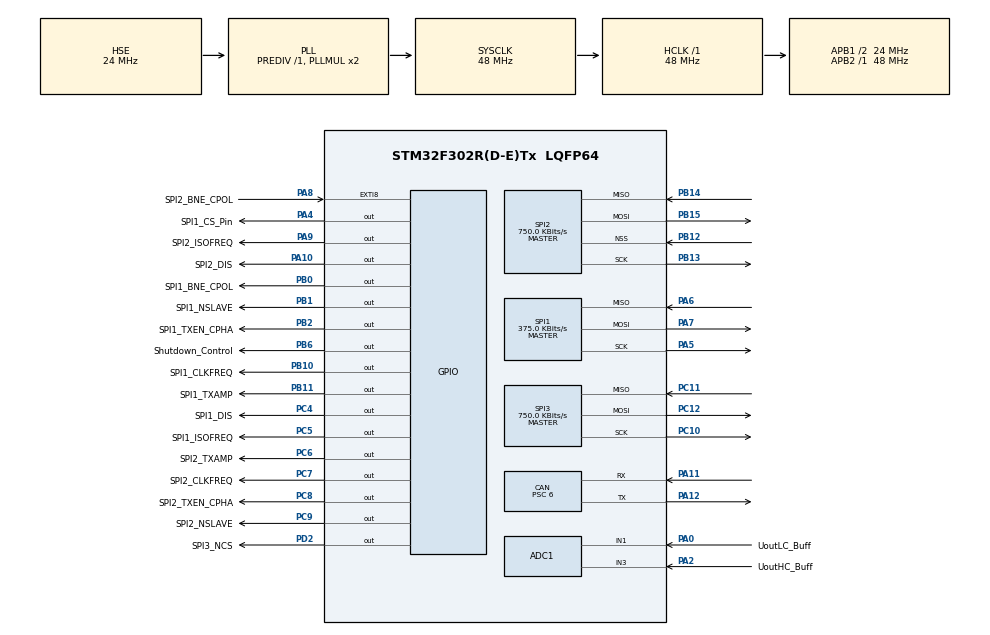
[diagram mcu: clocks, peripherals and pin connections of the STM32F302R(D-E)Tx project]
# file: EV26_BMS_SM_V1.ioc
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ADC1.Channel-5\#ChannelRegularConversion=ADC_CHANNEL_1
ADC1.Channel-6\#ChannelRegularConversion=ADC_CHANNEL_1
ADC1.ContinuousConvMode=ENABLE
ADC1.DMAContinuousRequests=ENABLE
ADC1.EnableRegularConversion=ENABLE
ADC1.NbrOfConversion=2
ADC1.NbrOfConversionFlag=1
ADC1.Offset-5\#ChannelRegularConversion=0
ADC1.Offset-6\#ChannelRegularConversion=0
ADC1.OffsetNumber-5\#ChannelRegularConversion=ADC_OFFSET_NONE
ADC1.OffsetNumber-6\#ChannelRegularConversion=ADC_OFFSET_NONE
ADC1.Rank-5\#ChannelRegularConversion=1
ADC1.Rank-6\#ChannelRegularConversion=2
ADC1.SamplingTime-5\#ChannelRegularConversion=ADC_SAMPLETIME_1CYCLE_5
ADC1.SamplingTime-6\#ChannelRegularConversion=ADC_SAMPLETIME_1CYCLE_5
ADC1.SamplingTimeOPAMP-5\#ChannelRegularConversion=ADC_SAMPLETIME_7CYCLES_5
ADC1.SamplingTimeOPAMP-6\#ChannelRegularConversion=ADC_SAMPLETIME_7CYCLES_5
ADC1.master=1
CAN.BS1=CAN_BS1_5TQ
CAN.BS2=CAN_BS2_2TQ
CAN.CalculateBaudRate=500000
CAN.CalculateTimeBit=2000
CAN.CalculateTimeQuantum=250.0
CAN.Prescaler=6
Dma.ADC1.0.Direction=DMA_PERIPH_TO_MEMORY
Dma.ADC1.0.Instance=DMA1_Channel1
Dma.ADC1.0.MemDataAlignment=DMA_MDATAALIGN_HALFWORD
Dma.ADC1.0.MemInc=DMA_MINC_ENABLE
Dma.ADC1.0.Mode=DMA_CIRCULAR
Dma.ADC1.0.PeriphDataAlignment=DMA_PDATAALIGN_HALFWORD
Dma.ADC1.0.PeriphInc=DMA_PINC_DISABLE
Dma.ADC1.0.Priority=DMA_PRIORITY_LOW
Dma.Request0=ADC1
Mcu.Family=STM32F3
Mcu.Name=STM32F302R(D-E)Tx
Mcu.Package=LQFP64
NVIC.DMA1_Channel1_IRQn=true\:0\:0\:false\:false\:true\:false\:true\:true
NVIC.PriorityGroup=NVIC_PRIORITYGROUP_4
NVIC.USB_LP_CAN_RX0_IRQn=true\:0\:0\:false\:false\:true\:true\:true\:true
PA0.GPIO_Label=UoutLC_Buff
PA0.Mode=IN1-Single-Ended
PA0.Signal=ADC1_IN1
PA10.GPIO_Label=SPI2_DIS
PA10.Signal=GPIO_Output
PA11.GPIO_PuPd=GPIO_PULLUP
PA11.Mode=CAN_Activate
PA11.Signal=CAN_RX
PA12.Mode=CAN_Activate
PA12.Signal=CAN_TX
PA13.Mode=JTAG_4_pins
PA13.Signal=SYS_JTMS-SWDIO
PA14.Mode=JTAG_4_pins
PA14.Signal=SYS_JTCK-SWCLK
PA15.Mode=JTAG_4_pins
PA15.Signal=SYS_JTDI
PA2.GPIO_Label=UoutHC_Buff
PA2.Mode=IN3-Single-Ended
PA2.Signal=ADC1_IN3
PA4.GPIO_Label=SPI1_CS_Pin
PA4.Signal=GPIO_Output
PA5.Mode=Full_Duplex_Master
PA5.Signal=SPI1_SCK
PA6.Mode=Full_Duplex_Master
PA6.Signal=SPI1_MISO
PA7.Mode=Full_Duplex_Master
PA7.Signal=SPI1_MOSI
PA8.GPIO_Label=SPI2_BNE_CPOL
PA8.Signal=GPXTI8
PA9.GPIO_Label=SPI2_ISOFREQ
PA9.Signal=GPIO_Output
PB0.GPIO_Label=SPI1_BNE_CPOL
PB0.Signal=GPIO_Output
PB1.GPIO_Label=SPI1_NSLAVE
PB1.Signal=GPIO_Output
PB10.GPIO_Label=SPI1_CLKFREQ
PB10.Signal=GPIO_Output
PB11.GPIO_Label=SPI1_TXAMP
PB11.Signal=GPIO_Output
PB12.Mode=NSS_Signal_Hard_Input
PB12.Signal=SPI2_NSS
PB13.Mode=Full_Duplex_Master
PB13.Signal=SPI2_SCK
PB14.Mode=Full_Duplex_Master
PB14.Signal=SPI2_MISO
PB15.Mode=Full_Duplex_Master
PB15.Signal=SPI2_MOSI
PB2.GPIO_Label=SPI1_TXEN_CPHA
PB2.Signal=GPIO_Output
PB3.Mode=JTAG_4_pins
PB3.Signal=SYS_JTDO-TRACESWO
PB6.GPIO_Label=Shutdown_Control
PB6.GPIO_PuPd=GPIO_PULLDOWN
PB6.Signal=GPIO_Output
PC10.Mode=Full_Duplex_Master
PC10.Signal=SPI3_SCK
PC11.Mode=Full_Duplex_Master
PC11.Signal=SPI3_MISO
PC12.Mode=Full_Duplex_Master
PC12.Signal=SPI3_MOSI
PC4.GPIO_Label=SPI1_DIS
PC4.Signal=GPIO_Output
PC5.GPIO_Label=SPI1_ISOFREQ
PC5.Signal=GPIO_Output
PC6.GPIO_Label=SPI2_TXAMP
PC6.Signal=GPIO_Output
PC7.GPIO_Label=SPI2_CLKFREQ
PC7.Signal=GPIO_Output
PC8.GPIO_Label=SPI2_TXEN_CPHA
PC8.Signal=GPIO_Output
PC9.GPIO_Label=SPI2_NSLAVE
PC9.Signal=GPIO_Output
PD2.GPIO_Label=SPI3_NCS
PD2.Signal=GPIO_Output
PF0-OSC_IN.Mode=HSE-External-Oscillator
PF0-OSC_IN.Signal=RCC_OSC_IN
PF1-OSC_OUT.Mode=HSE-External-Oscillator
PF1-OSC_OUT.Signal=RCC_OSC_OUT
ProjectManager.HeapSize=0x200
ProjectManager.StackSize=0x400
ProjectManager.TargetToolchain=STM32CubeIDE
RCC.AHBFreq_Value=48000000
RCC.APB1CLKDivider=RCC_HCLK_DIV2
RCC.APB1Freq_Value=24000000
RCC.APB1TimFreq_Value=48000000
RCC.APB2Freq_Value=48000000
RCC.APB2TimFreq_Value=48000000
RCC.CortexFreq_Value=48000000
RCC.HCLKFreq_Value=48000000
RCC.HSE_VALUE=24000000
RCC.HSI_VALUE=8000000
RCC.LSE_VALUE=32768
RCC.PLLSourceVirtual=RCC_PLLSOURCE_HSE
RCC.SYSCLKFreq_VALUE=48000000
RCC.SYSCLKSourceVirtual=RCC_SYSCLKSOURCE_PLLCLK
RCC.USBFreq_Value=48000000
SPI1.BaudRatePrescaler=SPI_BAUDRATEPRESCALER_128
SPI1.CalculateBaudRate=375.0 KBits/s
SPI1.DataSize=SPI_DATASIZE_8BIT
SPI1.Direction=SPI_DIRECTION_2LINES
SPI1.Mode=SPI_MODE_MASTER
SPI1.VirtualType=VM_MASTER
SPI2.BaudRatePrescaler=SPI_BAUDRATEPRESCALER_32
SPI2.CalculateBaudRate=750.0 KBits/s
SPI2.Direction=SPI_DIRECTION_2LINES
SPI2.Mode=SPI_MODE_MASTER
SPI2.VirtualNSS=VM_NSSHARD
SPI2.VirtualType=VM_MASTER
SPI3.BaudRatePrescaler=SPI_BAUDRATEPRESCALER_32
SPI3.CalculateBaudRate=750.0 KBits/s
SPI3.Direction=SPI_DIRECTION_2LINES
SPI3.Mode=SPI_MODE_MASTER
SPI3.VirtualType=VM_MASTER
board=custom

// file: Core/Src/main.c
/* USER CODE BEGIN Header */
/**
  ******************************************************************************
  * @file           : main.c
  * @brief          : Main program body
  ******************************************************************************
  * @attention
  *
  * Copyright (c) 2025 STMicroelectronics.
  * All rights reserved.
  *
  * This software is licensed under terms that can be found in the LICENSE file
  * in the root directory of this software component.
  * If no LICENSE file comes with this software, it is provided AS-IS.
  *
  ******************************************************************************
  */
/* USER CODE END Header */
#include "main.h"
#include "adc.h"
#include "can.h"
#include "dma.h"
#include "spi.h"
#include "gpio.h"

/* USER CODE BEGIN Includes */
#include <stdio.h>
#include <stdbool.h>
#include <stdlib.h>
#include "can_encode.h"
#include "can_decode.h"
/* USER CODE END Includes */

/* USER CODE BEGIN PD */
#define DEBUGUart

enum states{
	INITIAL,
	IDLE_NEUTRAL,
	FAULT,
	CHARGING,
	DISCHARGING,

} state;

//enum events{

//};
/* USER CODE END PD */

/* USER CODE BEGIN PV */
bool SHUTDOWN;
bool VOLTAGE_NSAFE;
bool THERM_NSAFE;
bool CURRENT_NSAFE;

CAN_TxHeaderTypeDef   TxHeader; /* Header containing the information of the transmitted frame */
CAN_RxHeaderTypeDef   RxHeader; ; /* Header containing the information of the received frame */
uint8_t               TxData[8] = {0};  /* Buffer of the data to send */
uint8_t               RxData[8]; /* Buffer of the received data */
uint32_t              TxMailbox;  /* The number of the mail box that transmitted the Tx message */

/* USER CODE END PV */

void SystemClock_Config(void);

int main(void)
{

  /* MCU Configuration--------------------------------------------------------*/

  /* Reset of all peripherals, Initializes the Flash interface and the Systick. */
  HAL_Init();

  /* Configure the system clock */
  SystemClock_Config();

  /* Initialize all configured peripherals */
  MX_GPIO_Init();
  MX_DMA_Init();
  MX_CAN_Init();
  MX_SPI1_Init();
  MX_SPI2_Init();
  MX_SPI3_Init();
  MX_ADC1_Init();
  /* USER CODE BEGIN 2 */

  //CAN Transmission settings
  TxHeader.IDE = CAN_ID_STD;
  TxHeader.RTR = CAN_RTR_DATA;
  TxHeader.DLC = 8;
  TxHeader.TransmitGlobalTime = DISABLE;

  // TODO Make sure Voltages and thermals can be read.

  // TODO Check if Systems are ready to discharge
  // SET shutdown loop to
  HAL_GPIO_WritePin(GPIOB, GPIO_PIN_6,GPIO_PIN_SET);
  SHUTDOWN = false;
  THERM_NSAFE = false;
  VOLTAGE_NSAFE = false;
  CURRENT_NSAFE = false;
  /* USER CODE END 2 */

  /* Infinite loop */
  while (1)
  {

    /* USER CODE BEGIN 3 */

	  // TODO ADC

	  // TODO DMA

	  // TODO SPI
	  // Send burst command to get all voltage and thermal levels

	  // Store the values in a structure

	  // TODO If Voltages or thermistors are out of line
	  if(VOLTAGE_NSAFE || THERM_NSAFE){ // Voltages are above X or below Y
		  SHUTDOWN = true;
	  	  HAL_GPIO_WritePin(GPIOB, GPIO_PIN_6,GPIO_PIN_RESET);
	  }
	  // TODO SHUTDOWN

	  while(SHUTDOWN){

		  // TODO send CAN Messages to diag the problem only faults
		  // TODO Check if fault is clear
		  // TODO send SPI Burst command to check voltages
		  // TODO if pack returns to a safe state
		  if(VOLTAGE_NSAFE && THERM_NSAFE){
			  SHUTDOWN = false;
			  HAL_GPIO_WritePin(GPIOB, GPIO_PIN_6,GPIO_PIN_SET);
		  }
	  }

	  // TODO CAN send Voltages and Thermal Measurements over CAN (Pack Voltage, current draw,
		// Encode BMS_STATUS
		/* =================== BMS_STATUS =================== */
		Encode_BMS_STATUS(
			350.5f,    // PACKVOLTS
			-120.2f,   // PACKAMPS
			76.0f,     // STATEOFCHARGE
			0, 0, 0, 0, 0, 1, 1, 0, // status bits
			TxData
			);
		while(HAL_CAN_GetTxMailboxesFreeLevel(&hcan) == 0);
		if(HAL_CAN_AddTxMessage(&hcan, &TxHeader, TxData, &TxMailbox) != HAL_OK) Error_Handler();

		/* =================== BMS_QUADVOLTS =================== */
		Encode_BMS_QUADVOLTS(
			12.34f, 12.45f, 12.56f, 12.67f, // QUAD1-4
			TxData
			);
		TxHeader.StdId = 1543; // Update CAN ID
		while(HAL_CAN_GetTxMailboxesFreeLevel(&hcan) == 0);
		if(HAL_CAN_AddTxMessage(&hcan, &TxHeader, TxData, &TxMailbox) != HAL_OK) Error_Handler();

		/* =================== BMS_CELLVOLTS =================== */
		Encode_BMS_CELLVOLTS(
			3.456f, 3.467f, 3.478f, 3.489f, // AVGVOLT1-4
			TxData
			);
		TxHeader.StdId = 1544;
		while(HAL_CAN_GetTxMailboxesFreeLevel(&hcan) == 0);
		if(HAL_CAN_AddTxMessage(&hcan, &TxHeader, TxData, &TxMailbox) != HAL_OK) Error_Handler();

		/* =================== BMS_TEMPS =================== */
		Encode_BMS_TEMPS(
			25.0f, 26.0f, 24.5f, 25.5f, // TEMP1-4
			TxData
			);
		TxHeader.StdId = 1545;
		while(HAL_CAN_GetTxMailboxesFreeLevel(&hcan) == 0);
		if(HAL_CAN_AddTxMessage(&hcan, &TxHeader, TxData, &TxMailbox) != HAL_OK) Error_Handler();

		/* Wait 100 ms → ~10 Hz overall loop */
		HAL_Delay(100);
	  // TODO EEPROM
  }
  /* USER CODE END 3 */
}

void SystemClock_Config(void)
{
  RCC_OscInitTypeDef RCC_OscInitStruct = {0};
  RCC_ClkInitTypeDef RCC_ClkInitStruct = {0};
  RCC_PeriphCLKInitTypeDef PeriphClkInit = {0};

  /** Initializes the RCC Oscillators according to the specified parameters
  * in the RCC_OscInitTypeDef structure.
  */
  RCC_OscInitStruct.OscillatorType = RCC_OSCILLATORTYPE_HSE;
  RCC_OscInitStruct.HSEState = RCC_HSE_ON;
  RCC_OscInitStruct.HSIState = RCC_HSI_ON;
  RCC_OscInitStruct.PLL.PLLState = RCC_PLL_ON;
  RCC_OscInitStruct.PLL.PLLSource = RCC_PLLSOURCE_HSE;
  RCC_OscInitStruct.PLL.PLLMUL = RCC_PLL_MUL2;
  RCC_OscInitStruct.PLL.PREDIV = RCC_PREDIV_DIV1;
  if (HAL_RCC_OscConfig(&RCC_OscInitStruct) != HAL_OK)
  {
    Error_Handler();
  }

  /** Initializes the CPU, AHB and APB buses clocks
  */
  RCC_ClkInitStruct.ClockType = RCC_CLOCKTYPE_HCLK|RCC_CLOCKTYPE_SYSCLK
                              |RCC_CLOCKTYPE_PCLK1|RCC_CLOCKTYPE_PCLK2;
  RCC_ClkInitStruct.SYSCLKSource = RCC_SYSCLKSOURCE_PLLCLK;
  RCC_ClkInitStruct.AHBCLKDivider = RCC_SYSCLK_DIV1;
  RCC_ClkInitStruct.APB1CLKDivider = RCC_HCLK_DIV2;
  RCC_ClkInitStruct.APB2CLKDivider = RCC_HCLK_DIV1;

  if (HAL_RCC_ClockConfig(&RCC_ClkInitStruct, FLASH_LATENCY_1) != HAL_OK)
  {
    Error_Handler();
  }
  PeriphClkInit.PeriphClockSelection = RCC_PERIPHCLK_ADC12;
  PeriphClkInit.Adc12ClockSelection = RCC_ADC12PLLCLK_DIV1;
  if (HAL_RCCEx_PeriphCLKConfig(&PeriphClkInit) != HAL_OK)
  {
    Error_Handler();
  }
}

/* USER CODE BEGIN 4 */
void HAL_CAN_RxFifo0MsgPendingCallback(CAN_HandleTypeDef *hcan)
{
    CAN_RxHeaderTypeDef rxHeader;

    // Get the incoming message
    if (HAL_CAN_GetRxMessage(hcan, CAN_RX_FIFO0, &rxHeader, RxData) != HAL_OK)
    {
        Error_Handler();
    }

    // Decode based on StdId
    switch(RxHeader.StdId)
    {
        case 1542: // BMS_STATUS
        {
            BMS_STATUS_t bmsStatus;
            Decode_BMS_STATUS(RxData, &bmsStatus);

            // Example usage:
            // float volts = bmsStatus.PACKVOLTS;
            // uint8_t fault = bmsStatus.FAULTED;
            break;
        }

        case 1543: // BMS_QUADVOLTS
        {
            BMS_QUADVOLTS_t quadVolts;
            Decode_BMS_QUADVOLTS(RxData, &quadVolts);

            // Example usage:
            // float q1 = quadVolts.QUAD1;
            break;
        }

        case 1544: // BMS_CELLVOLTS
        {
            BMS_CELLVOLTS_t cellVolts;
            Decode_BMS_CELLVOLTS(RxData, &cellVolts);
            break;
        }

        case 1545: // BMS_TEMPS
        {
            BMS_TEMPS_t bmsTemps;
            Decode_BMS_TEMPS(RxData, &bmsTemps);
            break;
        }

        case 516: // INVERTER_CTRL
        {
            INVERTER_CTRL_t inverterCtrl;
            Decode_INVERTER_CTRL(RxData, &inverterCtrl);
            break;
        }

        case 521: // SYS_STATUS
        {
            SYS_STATUS_t sysStatus;
            Decode_SYS_STATUS(RxData, &sysStatus);
            break;
        }

        default:
            // Unknown CAN ID — ignore or log
            break;
    }

}
/* USER CODE END 4 */

void Error_Handler(void)
{
  __disable_irq();
  while (1)
  {
  }
}
